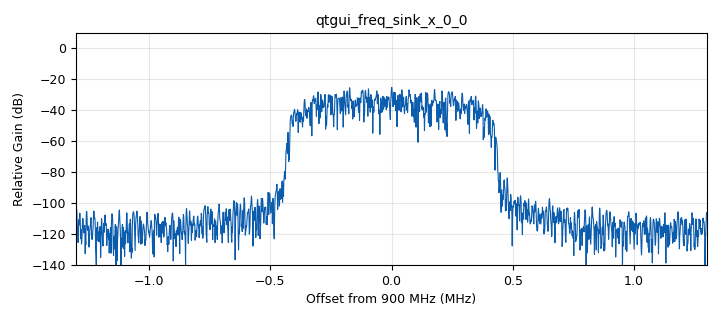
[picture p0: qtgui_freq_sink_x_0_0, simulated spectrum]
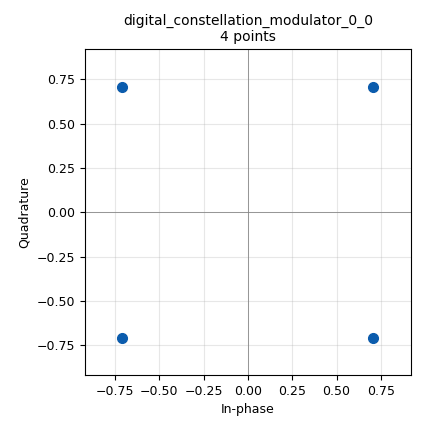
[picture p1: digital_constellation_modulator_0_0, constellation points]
options:
  parameters:
    generate_options: qt_gui
    id: signal_detection
    output_language: python
    title: Not titled yet
  states: {}

blocks:
- name: cent_freq_sink
  id: variable_qtgui_range
  parameters:
    start: 4.5e6
    step: step
    stop: 1e9
    value: 9e8
  states: {}
- name: cent_freq_source
  id: variable_qtgui_range
  parameters:
    start: 4.5e6
    step: step
    stop: 1e9
    value: 9e8
  states: {state: disabled}
- name: cent_freq_source
  id: variable
  parameters:
    value: swep_cent_freq.sweeper.next(step)
  states: {}
- name: chunk_bw
  id: variable
  parameters:
    value: 1e7
  states: {}
- name: fft_len
  id: variable
  parameters:
    value: '2048'
  states: {}
- name: gain_rx
  id: variable_qtgui_range
  parameters:
    start: '0'
    step: '5e-1'
    stop: '50'
    value: '15'
  states: {}
- name: gain_tx
  id: variable_qtgui_range
  parameters:
    start: '0'
    step: '5e-1'
    stop: '50'
    value: '15'
  states: {}
- name: noise
  id: variable_qtgui_range
  parameters:
    start: '0'
    step: '1e-3'
    stop: '1'
    value: '0'
  states: {}
- name: overlap
  id: variable
  parameters:
    value: '1e-1'
  states: {}
- name: qpsk
  id: variable_constellation_rect
  parameters:
    const_points: '[-1-1j, -1+1j, 1+1j, 1-1j]'
    imag_sect: '2'
    real_sect: '2'
    rot_sym: '4'
    sym_map: '[0, 1, 3, 2]'
    w_imag_sect: '1'
    w_real_sect: '1'
  states: {}
- name: samp_rate
  id: variable
  parameters:
    value: 2.6e6
  states: {}
- name: step
  id: variable
  parameters:
    value: chunk_bw*(1-overlap)
  states: {}
- name: total_chunk
  id: variable
  parameters:
    value: round( ((1e9-chunk_bw)/step) + 1 )
  states: {}
- name: vec_len
  id: variable
  parameters:
    value: '2048'
  states: {}
- name: analog_noise_source_x_0_0
  id: analog_noise_source_x
  parameters:
    amp: noise
    noise_type: analog.GR_GAUSSIAN
    seed: '36'
    type: complex
  states: {}
- name: analog_random_source_x_0_0
  id: analog_random_source_x
  parameters:
    max: '256'
    min: '0'
    num_samps: '10000'
    repeat: 'True'
    type: byte
  states: {}
- name: analog_sig_source_x_0
  id: analog_sig_source_x
  parameters:
    amp: '1'
    freq: '1000'
    offset: '0'
    phase: '0'
    samp_rate: samp_rate
    type: complex
    waveform: analog.GR_COS_WAVE
  states: {state: disabled}
- name: blocks_add_xx_0_0
  id: blocks_add_xx
  parameters:
    type: complex
  states: {}
- name: blocks_complex_to_mag_squared_0
  id: blocks_complex_to_mag_squared
  parameters:
    vlen: vec_len
  states: {}
- name: blocks_integrate_xx_0
  id: blocks_integrate_xx
  parameters:
    decim: '100'
    type: float
    vlen: vec_len
  states: {}
- name: blocks_keep_one_in_n_0
  id: blocks_keep_one_in_n
  parameters:
    n: round(samp_rate/fft_len/1000)
    type: complex
    vlen: vec_len
  states: {}
- name: blocks_nlog10_ff_0
  id: blocks_nlog10_ff
  parameters:
    k: '-100'
    n: '10'
    vlen: vec_len
  states: {}
- name: blocks_stream_to_vector_0
  id: blocks_stream_to_vector
  parameters:
    num_items: vec_len
    type: complex
  states: {}
- name: digital_constellation_modulator_0_0
  id: digital_constellation_modulator
  parameters:
    constellation: qpsk
    differential: 'True'
    excess_bw: '0.35'
    samples_per_symbol: '4'
  states: {}
- name: epy_block_0
  id: epy_block
  parameters:
    _source_code: |
      """
      Embedded Python Blocks:

      Each time this file is saved, GRC will instantiate the first class it finds
      to get ports and parameters of your block. The arguments to __init__  will
      be the parameters. All of them are required to have default values!
      """

      import threading
      import numpy as np
      from gnuradio import gr

      class blk(gr.sync_block):  # other base classes are basic_block, decim_block, interp_block
          """Embedded Python Block example - a simple multiply const"""

          def __init__(self, vec_len=2048):  # only default arguments here
              """arguments to this function show up as parameters in GRC"""
              gr.sync_block.__init__(self,
                                     name='MedianProbe',
                                     in_sig=[(np.float32, vec_len)],
                                     out_sig=[])
              self.vec_len = int(vec_len)
              self._lock = threading.Lock()
              self._latest = None
              
          def work(self, input_items, output_items):
              inp = input_items[0]
              out = output_items[0]
              n_items = len(inp)
              for i in range(n_items):
                  v = np.asarray(inp[i], dtype=np.float32)
                  m = float(np.median(v))
                  with self._lock:
                      self._latest = m
                  out[i][:] = v
              return n_items

          def get_latest(self):
              """Return the most recent median (float) or None if not available."""
              with self._lock:
                  return self._latest
    vec_len: '2048'
  states: {}
- name: fft_vxx_0
  id: fft_vxx
  parameters:
    fft_size: fft_len
    forward: 'True'
    nthreads: '10'
    shift: 'True'
    type: complex
    window: window.blackmanharris(fft_len)
  states: {}
- name: qtgui_freq_sink_x_0
  id: qtgui_freq_sink_x
  parameters:
    bw: samp_rate
    fc: cent_freq_source
    fftsize: '2048'
    type: complex
  states: {}
- name: qtgui_freq_sink_x_0_0
  id: qtgui_freq_sink_x
  parameters:
    bw: samp_rate
    fc: cent_freq_sink
    fftsize: '2048'
    type: complex
  states: {}
- name: qtgui_vector_sink_f_0
  id: qtgui_vector_sink_f
  parameters:
    autoscale: 'True'
    vlen: vec_len
    x_start: '0'
    x_step: '1.0'
  states: {}
- name: swep_cent_freq
  id: epy_module
  parameters:
    source_code: |-
      # this module will be imported in the into your flowgraph

      class Sweeper:
          def __init__(self, start=4.5e6, stop=1e9):
              self.start = start
              self.stop = stop
              self.chunk_index = 0

          def next(self, step):
              cent_freq = self.start + self.chunk_index * step
              if cent_freq > self.stop:
                  return None
              self.chunk_index += 1
              return cent_freq

      sweeper = Sweeper()
  states: {}
- name: uhd_usrp_sink_0_0
  id: uhd_usrp_sink
  parameters:
    ant0: '"TX/RX"'
    center_freq0: cent_freq_sink
    gain0: gain_tx
    samp_rate: samp_rate
    sync: none
    type: fc32
  states: {}
- name: uhd_usrp_source_0
  id: uhd_usrp_source
  parameters:
    ant0: '"RX2"'
    center_freq0: cent_freq_source
    gain0: gain_rx
    samp_rate: samp_rate
    sync: none
    type: fc32
  states: {}

connections:
- [analog_noise_source_x_0_0, '0', blocks_add_xx_0_0, '1']
- [analog_random_source_x_0_0, '0', digital_constellation_modulator_0_0, '0']
- [analog_sig_source_x_0, '0', blocks_add_xx_0_0, '0']
- [blocks_add_xx_0_0, '0', qtgui_freq_sink_x_0_0, '0']
- [blocks_add_xx_0_0, '0', uhd_usrp_sink_0_0, '0']
- [blocks_complex_to_mag_squared_0, '0', blocks_integrate_xx_0, '0']
- [blocks_integrate_xx_0, '0', blocks_nlog10_ff_0, '0']
- [blocks_integrate_xx_0, '0', epy_block_0, '0']
- [blocks_keep_one_in_n_0, '0', fft_vxx_0, '0']
- [blocks_nlog10_ff_0, '0', qtgui_vector_sink_f_0, '0']
- [blocks_stream_to_vector_0, '0', blocks_keep_one_in_n_0, '0']
- [digital_constellation_modulator_0_0, '0', blocks_add_xx_0_0, '0']
- [fft_vxx_0, '0', blocks_complex_to_mag_squared_0, '0']
- [uhd_usrp_source_0, '0', blocks_stream_to_vector_0, '0']
- [uhd_usrp_source_0, '0', qtgui_freq_sink_x_0, '0']

metadata:
  file_format: 1
  grc_version: 3.10.9.0-rc2
